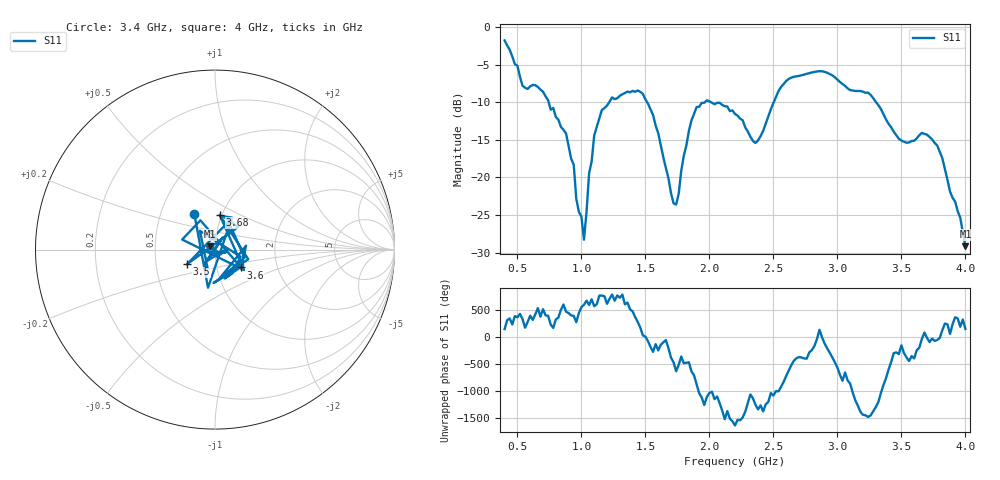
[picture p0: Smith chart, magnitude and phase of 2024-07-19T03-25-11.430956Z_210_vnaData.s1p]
!Created with skrf (http://scikit-rf.org).
# Hz S RI R 50.0
!freq ReS11 ImS11
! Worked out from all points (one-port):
!   181 points, 400 MHz to 4 GHz, reference 50 ohm
!   lowest |S11| = -29.1 dB at 4 GHz (marker M1), VSWR 1.07, Z = 47 + j1.65 ohm
!   |S11| at or under -10 dB: 744.5 MHz to 1.216 GHz (471.9 MHz wide, 48.1 % of centre); 2.015 GHz to 2.502 GHz (487 MHz wide, 21.6 % of centre); 3.303 GHz to end of sweep (the widest 3 of 4)
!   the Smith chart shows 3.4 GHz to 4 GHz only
!   S11 on the Smith chart (normalised r, x): 3.4 GHz: 0.74, +0.31; 3.5 GHz: 0.72, -0.12; 3.6 GHz: 1.31, -0.27; 3.68 GHz: 0.98, +0.39; 4 GHz: 0.94, +0.03
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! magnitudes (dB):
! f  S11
! 400 MHz  -1.8
! 540 MHz  -7.8
! 700 MHz  -8.6
! 860 MHz  -13.6
! 940 MHz  -18.3
! 960 MHz  -22.8
! 1.02 GHz  -28.3
! 1.06 GHz  -19.5
! 1.1 GHz  -14.4
! 1.16 GHz  -11.0
! 1.3 GHz  -9.1
! 1.48 GHz  -8.9
! 1.6 GHz  -14.1
! 1.72 GHz  -23.4
! 1.76 GHz  -22.2
! 1.84 GHz  -13.8
! 1.9 GHz  -10.6
! 2.2 GHz  -11.5
! 2.36 GHz  -15.4
! 2.66 GHz  -6.6
! 3.1 GHz  -8.4
! 3.4 GHz  -12.9
! 3.5 GHz  -15.1
! 3.56 GHz  -15.3
! 3.6 GHz  -15.1
! 3.68 GHz  -14.2
! 3.82 GHz  -17.4
! 4 GHz  -29.1
